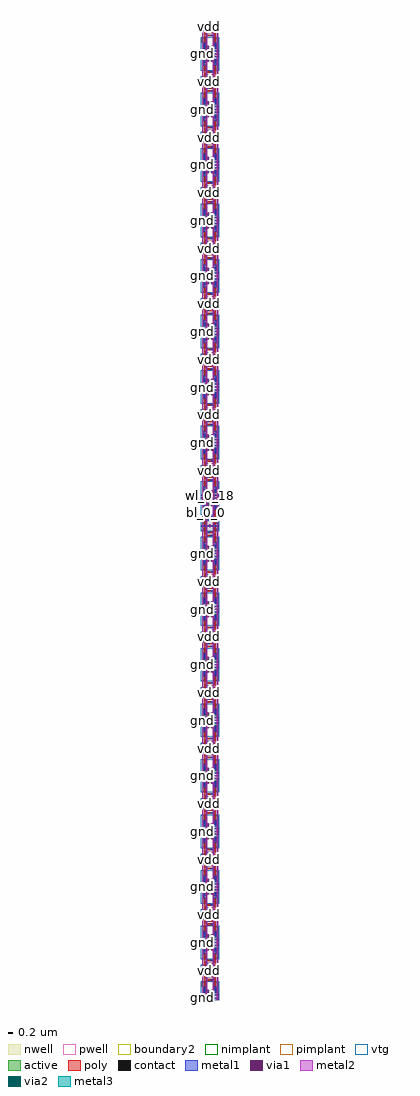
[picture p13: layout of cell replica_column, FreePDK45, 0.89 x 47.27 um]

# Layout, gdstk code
import gdstk
lib = gdstk.Library(unit=1e-6, precision=5e-10)
def R(c, l, rs):  # rectangles x0, y0, x1, y1
    for r in rs: c.add(gdstk.rectangle(r[:2], r[2:], *l))
def A(c, l, x, y, w, h, nx, ny, dx, dy):  # array of equal rectangles
    R(c, l, [(x+i*dx, y+j*dy, x+i*dx+w, y+j*dy+h) for i in range(nx) for j in range(ny)])
active = (1, 0)
pwell = (2, 0)
nwell = (3, 0)
nimplant = (4, 0)
pimplant = (5, 0)
vtg = (6, 0)
poly = (9, 0)
contact = (10, 0)
metal1 = (11, 0)
via1 = (12, 0)
metal2 = (13, 0)
via2 = (14, 0)
metal3 = (15, 0)
boundary2 = (239, 0)

dummy_cell_1rw = lib.new_cell('dummy_cell_1rw')
R(dummy_cell_1rw, active, [(0.3025,-0.045,0.3925,0.045), (0.3025,-0.045,0.3925,0.045), (0.045,0.2275,0.305,0.3625), (0.045,0.2275,0.12,0.3625), (0.045,0.2275,0.12,0.3625), (0.23,0.2275,0.305,0.3625), (0.23,0.2275,0.305,0.3625), (0.4,0.2275,0.66,0.3625), (0.4,0.2275,0.475,0.3625), (0.4,0.2275,0.475,0.3625), (0.585,0.2275,0.66,0.3625), (0.585,0.2275,0.66,0.3625), (0.045,0.2875,0.12,0.3625), (0.23,0.2875,0.305,0.3625), (0.4,0.2875,0.475,0.3625), (0.585,0.2875,0.66,0.3625), (-0.0375,0.5475,0.225,0.7525), (-0.0375,0.5475,0.04,0.7525), (-0.0375,0.5475,0.04,0.7525), (0.15,0.5475,0.225,0.7525), (0.15,0.5475,0.225,0.7525), (0.48,0.5475,0.7425,0.7525), (0.48,0.5475,0.555,0.7525), (0.48,0.5475,0.555,0.7525), (0.665,0.5475,0.7425,0.7525), (0.665,0.5475,0.7425,0.7525), (-0.0375,0.6775,0.0375,0.7525), (0.15,0.6775,0.225,0.7525), (0.48,0.6775,0.555,0.7525), (0.6675,0.6775,0.7425,0.7525), (-0.0375,1.1425,0.225,1.2325), (-0.0375,1.1425,0.04,1.2325), (-0.0375,1.1425,0.04,1.2325), (-0.0375,1.1425,0.04,1.2175), (0.15,1.1425,0.225,1.2175), (0.15,1.1425,0.225,1.2325), (0.15,1.1425,0.225,1.2325), (0.48,1.1425,0.555,1.2175), (0.48,1.1425,0.7425,1.2325), (0.48,1.1425,0.555,1.2325), (0.48,1.1425,0.555,1.2325), (0.665,1.1425,0.7425,1.2325), (0.665,1.1425,0.7425,1.2325), (0.6675,1.1425,0.7425,1.2175), (0.3025,1.3,0.3925,1.39), (0.3025,1.3,0.3925,1.39)])
R(dummy_cell_1rw, pwell, [(-0.0925,-0.1,0.7975,0.8075), (0.2475,-0.1,0.4475,0.1), (0.2475,-0.1,0.4475,0.1), (-0.01,0.1725,0.36,0.4175), (0.345,0.1725,0.715,0.4175), (-0.0925,0.4925,0.28,0.8075), (0.425,0.4925,0.7975,0.8075)])
R(dummy_cell_1rw, nwell, [(-0.0925,1.0875,0.28,1.2875), (-0.0925,1.0875,0.7975,1.445), (0.425,1.0875,0.7975,1.2875), (0.2475,1.245,0.4475,1.445), (0.2475,1.245,0.4475,1.445)])
R(dummy_cell_1rw, nimplant, [(0.045,0.2275,0.305,0.3625), (0.4,0.2275,0.66,0.3625), (-0.035,0.5475,0.225,0.7525), (0.48,0.5475,0.74,0.7525), (0.3025,1.3,0.3925,1.39), (0.3025,1.3,0.3925,1.39)])
R(dummy_cell_1rw, pimplant, [(0.3025,-0.045,0.3925,0.045), (-0.035,1.1425,0.225,1.2325), (0.48,1.1425,0.74,1.2325)])
R(dummy_cell_1rw, vtg, [(-0.09,-0.1,0.795,0.8075), (-0.01,0.1725,0.36,0.4175), (0.345,0.1725,0.715,0.4175), (-0.09,0.4925,0.28,0.8075), (0.425,0.4925,0.795,0.8075), (-0.09,1.0875,0.28,1.2875), (-0.09,1.0875,0.795,1.445), (0.425,1.0875,0.795,1.2875)])
R(dummy_cell_1rw, poly, [(0.07,0.1025,0.635,0.1775), (0.2975,0.1025,0.3725,0.1775), (0.15,0.1725,0.2,0.2275), (0.15,0.1725,0.2,0.4175), (0.505,0.1725,0.555,0.2275), (0.505,0.1725,0.555,0.4175), (0.15,0.3625,0.2,0.4175), (0.505,0.3625,0.555,0.4175), (0.07,0.4925,0.12,0.5475), (0.07,0.4925,0.12,0.8075), (0.585,0.4925,0.635,0.5475), (0.585,0.4925,0.635,0.8075), (0.07,0.7525,0.12,0.8075), (0.585,0.7525,0.635,0.8075), (0.07,0.8075,0.12,1.0875), (0.07,0.8075,0.12,1.0875), (0.585,0.8075,0.635,1.0875), (0.585,0.8075,0.635,1.0875), (0.07,0.8425,0.5025,0.9175), (0.4275,0.8425,0.5025,0.9175), (0.4275,0.8425,0.5025,0.9175), (0.2025,0.9925,0.2775,1.0675), (0.2025,0.9925,0.2775,1.0675), (0.2025,0.9925,0.635,1.0675), (0.07,1.0875,0.12,1.1425), (0.07,1.0875,0.12,1.2875), (0.585,1.0875,0.635,1.1425), (0.585,1.0875,0.635,1.2875), (0.07,1.2325,0.12,1.2875), (0.585,1.2325,0.635,1.2875)])
R(dummy_cell_1rw, contact, [(0.3175,-0.0325,0.3825,0.0325), (0.3175,-0.0325,0.3825,0.0325), (0.3025,0.1075,0.3675,0.1725), (0.05,0.2925,0.115,0.3575), (0.235,0.2925,0.3,0.3575), (0.405,0.2925,0.47,0.3575), (0.59,0.2925,0.655,0.3575), (-0.0325,0.6825,0.0325,0.7475), (0.155,0.6825,0.22,0.7475), (0.485,0.6825,0.55,0.7475), (0.6725,0.6825,0.7375,0.7475), (0.4325,0.8475,0.4975,0.9125), (0.4325,0.8475,0.4975,0.9125), (0.2075,0.9975,0.2725,1.0625), (0.2075,0.9975,0.2725,1.0625), (-0.0325,1.1475,0.0325,1.2125), (0.155,1.1475,0.22,1.2125), (0.485,1.1475,0.55,1.2125), (0.6725,1.1475,0.7375,1.2125), (0.315,1.3125,0.38,1.3775)])
R(dummy_cell_1rw, metal1, [(-0.09,-0.0325,0.795,0.0325), (-0.0675,-0.0325,0.0675,0.0325), (-0.0675,-0.0325,0.0675,0.0325), (0.285,-0.0325,0.42,0.0325), (0.285,-0.0325,0.42,0.0325), (0.6375,-0.0325,0.7725,0.0325), (0.6375,-0.0325,0.7725,0.0325), (0.6375,-0.0325,0.7725,0.0325), (0.6375,-0.0325,0.7725,0.0325), (-0.09,0.1075,0.795,0.1725), (-0.09,0.1075,0.795,0.1725), (-0.09,0.1075,0.795,0.1725), (0.2675,0.1075,0.4025,0.1725), (-0.085,0.11,-0.0325,0.1725), (0.62,0.11,0.6725,0.1725), (0.05,0.2575,0.115,0.3925), (0.05,0.2575,0.12,0.5475), (0.2225,0.2575,0.2875,0.3925), (0.235,0.2575,0.3,0.3925), (0.405,0.2575,0.47,0.3925), (0.4175,0.2575,0.4825,0.3925), (0.59,0.2575,0.655,0.3925), (0.59,0.2575,0.66,0.5475), (0.05,0.4825,0.22,0.5475), (0.155,0.4825,0.22,1.2225), (0.485,0.4825,0.66,0.5475), (0.485,0.4825,0.55,1.1125), (-0.035,0.6475,0.035,0.7825), (-0.035,0.6475,0.035,0.7825), (-0.03,0.6475,0.035,0.7825), (0.155,0.6475,0.22,0.7825), (0.485,0.6475,0.55,0.7825), (0.67,0.6475,0.735,0.7825), (0.67,0.6475,0.74,0.7825), (0.67,0.6475,0.74,0.7825), (0.67,0.6475,0.74,0.7825), (0.67,0.6475,0.74,0.7825), (0.67,0.6475,0.74,0.7825), (0.67,0.6475,0.74,0.7825), (-0.0325,0.75,0.0325,0.885), (-0.0325,0.75,0.0325,0.885), (-0.0325,0.75,0.0325,0.885), (-0.0325,0.75,0.0325,0.885), (-0.0325,0.75,0.0325,0.885), (-0.0325,0.75,0.0325,0.885), (0.6725,0.75,0.7375,0.885), (0.6725,0.75,0.7375,0.885), (0.6725,0.75,0.7375,0.885), (0.6725,0.75,0.7375,0.885), (0.6725,0.75,0.7375,0.885), (0.6725,0.75,0.7375,0.885), (0.6725,0.75,0.7375,0.885), (0.6725,0.75,0.7375,0.885), (0.6725,0.75,0.7375,0.885), (0.6725,0.75,0.7375,0.885), (0.6725,0.75,0.7375,0.885), (0.6725,0.75,0.7375,0.885), (0.6725,0.75,0.7375,0.885), (0.6725,0.75,0.7375,0.885), (0.6725,0.75,0.7375,0.885), (0.6725,0.75,0.7375,0.885), (0.6725,0.75,0.7375,0.885), (0.6725,0.75,0.7375,0.885), (0.6725,0.75,0.7375,0.885), (0.6725,0.75,0.7375,0.885), (0.6725,0.75,0.7375,0.885), (0.6725,0.75,0.7375,0.885), (0.6725,0.75,0.7375,0.885), (0.6725,0.75,0.7375,0.885), (0.3975,0.8475,0.5325,0.9125), (0.3975,0.8475,0.5325,0.9125), (0.1725,0.9975,0.3075,1.0625), (0.1725,0.9975,0.3075,1.0625), (-0.035,1.1125,0.035,1.3125), (-0.03,1.1125,0.035,1.2475), (0.155,1.1125,0.22,1.2475), (0.485,1.1125,0.55,1.2475), (0.67,1.1125,0.735,1.2475), (0.67,1.1125,0.74,1.3125), (0.67,1.1125,0.74,1.3125), (-0.09,1.3125,0.795,1.3775)])
R(dummy_cell_1rw, via1, [(-0.0325,-0.0325,0.0325,0.0325), (-0.0325,-0.0325,0.0325,0.0325), (0.6725,-0.0325,0.7375,0.0325), (0.6725,-0.0325,0.7375,0.0325), (0.6725,-0.0325,0.7375,0.0325), (0.6725,-0.0325,0.7375,0.0325), (-0.0325,0.785,0.0325,0.85), (-0.0325,0.785,0.0325,0.85), (-0.0325,0.785,0.0325,0.85), (-0.0325,0.785,0.0325,0.85), (-0.0325,0.785,0.0325,0.85), (-0.0325,0.785,0.0325,0.85), (0.6725,0.785,0.7375,0.85), (0.6725,0.785,0.7375,0.85), (0.6725,0.785,0.7375,0.85), (0.6725,0.785,0.7375,0.85), (0.6725,0.785,0.7375,0.85), (0.6725,0.785,0.7375,0.85), (0.6725,0.785,0.7375,0.85), (0.6725,0.785,0.7375,0.85), (0.6725,0.785,0.7375,0.85), (0.6725,0.785,0.7375,0.85), (0.6725,0.785,0.7375,0.85), (0.6725,0.785,0.7375,0.85), (0.6725,0.785,0.7375,0.85), (0.6725,0.785,0.7375,0.85), (0.6725,0.785,0.7375,0.85), (0.6725,0.785,0.7375,0.85), (0.6725,0.785,0.7375,0.85), (0.6725,0.785,0.7375,0.85), (0.6725,0.785,0.7375,0.85), (0.6725,0.785,0.7375,0.85), (0.6725,0.785,0.7375,0.85), (0.6725,0.785,0.7375,0.85), (0.6725,0.785,0.7375,0.85), (0.6725,0.785,0.7375,0.85), (0.315,1.3125,0.38,1.3775)])
R(dummy_cell_1rw, metal2, [(-0.035,-0.1,0.035,1.445), (0.15,-0.1,0.22,1.445), (0.15,-0.1,0.22,1.445), (0.15,-0.1,0.22,1.445), (0.485,-0.1,0.555,1.445), (0.485,-0.1,0.555,1.445), (0.485,-0.1,0.555,1.445), (0.67,-0.1,0.74,1.445), (-0.0675,-0.035,0.0675,0.035), (-0.0675,-0.035,0.0675,0.035), (-0.0675,-0.035,0.0675,0.035), (-0.0675,-0.035,0.0675,0.035), (0.6375,-0.035,0.7725,0.035), (0.6375,-0.035,0.7725,0.035), (0.6375,-0.035,0.7725,0.035), (0.6375,-0.035,0.7725,0.035), (0.4925,-0.0325,0.55,0.0275), (0.67,-0.0325,0.74,1.3775), (-0.03,-0.03,0.03,0.0275), (0.1575,-0.025,0.2125,0.0275), (0.675,-0.025,0.735,0.0325), (0.22,0.2575,0.29,0.3925), (0.415,0.2575,0.485,0.3925), (-0.035,0.75,0.035,0.885), (-0.035,0.75,0.035,0.885), (-0.035,0.75,0.035,0.885), (-0.035,0.75,0.035,0.885), (-0.035,0.75,0.035,0.885), (-0.035,0.75,0.035,0.885), (0.67,0.75,0.74,0.885), (0.67,0.75,0.74,0.885), (0.67,0.75,0.74,0.885), (0.67,0.75,0.74,0.885), (0.67,0.75,0.74,0.885), (0.67,0.75,0.74,0.885), (0.67,0.75,0.74,0.885), (0.67,0.75,0.74,0.885), (0.67,0.75,0.74,0.885), (0.67,0.75,0.74,0.885), (0.67,0.75,0.74,0.885), (0.67,0.75,0.74,0.885), (0.67,0.75,0.74,0.885), (0.67,0.75,0.74,0.885), (0.67,0.75,0.74,0.885), (0.67,0.75,0.74,0.885), (0.67,0.75,0.74,0.885), (0.67,0.75,0.74,0.885), (0.67,0.75,0.74,0.885), (0.67,0.75,0.74,0.885), (0.67,0.75,0.74,0.885), (0.67,0.75,0.74,0.885), (0.67,0.75,0.74,0.885), (0.67,0.75,0.74,0.885), (0.3125,1.2775,0.3825,1.4125), (0.3125,1.2775,0.3825,1.4125), (0.3125,1.2775,0.3825,1.4125)])
R(dummy_cell_1rw, boundary2, [(0,0,0.705,1.345)])
dummy_cell_1rw.add(gdstk.Label('vdd', (0.368,1.355), layer=13, texttype=0))
dummy_cell_1rw.add(gdstk.Label('gnd', (-0.0475,0.015), layer=13, texttype=0))
dummy_cell_1rw.add(gdstk.Label('br', (0.52,0.003), layer=13, texttype=0))
dummy_cell_1rw.add(gdstk.Label('bl', (0.19,0.003), layer=13, texttype=0))
dummy_cell_1rw.add(gdstk.Label('bl', (0.185,0.6725), layer=13, texttype=0))
dummy_cell_1rw.add(gdstk.Label('br', (0.52,0.6725), layer=13, texttype=0))
dummy_cell_1rw.add(gdstk.Label('vdd', (0.3475,1.345), layer=13, texttype=0))
dummy_cell_1rw.add(gdstk.Label('gnd', (0,0), layer=13, texttype=0))
dummy_cell_1rw.add(gdstk.Label('wl', (-0.05,0.147), layer=11, texttype=0))
dummy_cell_1rw.add(gdstk.Label('wl', (0.3525,0.14), layer=11, texttype=0))

replica_cell_1rw = lib.new_cell('replica_cell_1rw')
R(replica_cell_1rw, active, [(0.3025,-0.045,0.3925,0.045), (0.3025,-0.045,0.3925,0.045), (0.045,0.2275,0.12,0.3625), (0.045,0.2275,0.12,0.3625), (0.045,0.2275,0.305,0.3625), (0.23,0.2275,0.305,0.3625), (0.23,0.2275,0.305,0.3625), (0.4,0.2275,0.475,0.3625), (0.4,0.2275,0.475,0.3625), (0.4,0.2275,0.66,0.3625), (0.585,0.2275,0.66,0.3625), (0.585,0.2275,0.66,0.3625), (0.045,0.2875,0.12,0.3625), (0.23,0.2875,0.305,0.3625), (0.4,0.2875,0.475,0.3625), (0.585,0.2875,0.66,0.3625), (-0.035,0.5475,0.04,0.7525), (-0.035,0.5475,0.04,0.7525), (-0.035,0.5475,0.225,0.7525), (0.15,0.5475,0.225,0.7525), (0.15,0.5475,0.225,0.7525), (0.48,0.5475,0.555,0.7525), (0.48,0.5475,0.555,0.7525), (0.48,0.5475,0.74,0.7525), (0.665,0.5475,0.74,0.7525), (0.665,0.5475,0.74,0.7525), (-0.035,0.6775,0.04,0.7525), (0.15,0.6775,0.225,0.7525), (0.48,0.6775,0.555,0.7525), (0.665,0.6775,0.74,0.7525), (-0.035,1.1425,0.04,1.2175), (-0.035,1.1425,0.04,1.2325), (-0.035,1.1425,0.04,1.2325), (-0.035,1.1425,0.225,1.2325), (0.15,1.1425,0.225,1.2175), (0.15,1.1425,0.225,1.2325), (0.15,1.1425,0.225,1.2325), (0.48,1.1425,0.555,1.2175), (0.48,1.1425,0.555,1.2325), (0.48,1.1425,0.555,1.2325), (0.48,1.1425,0.74,1.2325), (0.665,1.1425,0.74,1.2175), (0.665,1.1425,0.74,1.2325), (0.665,1.1425,0.74,1.2325), (0.3025,1.3,0.3925,1.39), (0.3025,1.3,0.3925,1.39)])
R(replica_cell_1rw, pwell, [(-0.09,-0.1,0.795,0.8075), (0.2475,-0.1,0.4475,0.1), (0.2475,-0.1,0.4475,0.1), (-0.01,0.1725,0.36,0.4175), (0.345,0.1725,0.715,0.4175), (-0.09,0.4925,0.28,0.8075), (0.425,0.4925,0.795,0.8075)])
R(replica_cell_1rw, nwell, [(-0.09,1.0875,0.795,1.445), (-0.09,1.0875,0.28,1.2875), (0.425,1.0875,0.795,1.2875), (0.2475,1.245,0.4475,1.445), (0.2475,1.245,0.4475,1.445)])
R(replica_cell_1rw, nimplant, [(0.045,0.2275,0.305,0.3625), (0.4,0.2275,0.66,0.3625), (-0.035,0.5475,0.225,0.7525), (0.48,0.5475,0.74,0.7525), (0.3025,1.3,0.3925,1.39), (0.3025,1.3,0.3925,1.39)])
R(replica_cell_1rw, pimplant, [(0.3025,-0.045,0.3925,0.045), (-0.035,1.1425,0.225,1.2325), (0.48,1.1425,0.74,1.2325)])
R(replica_cell_1rw, vtg, [(-0.09,-0.1,0.795,0.8075), (-0.01,0.1725,0.36,0.4175), (0.345,0.1725,0.715,0.4175), (-0.09,0.4925,0.28,0.8075), (0.425,0.4925,0.795,0.8075), (-0.09,1.0875,0.795,1.445), (-0.09,1.0875,0.28,1.2875), (0.425,1.0875,0.795,1.2875)])
R(replica_cell_1rw, poly, [(0.07,0.1025,0.635,0.1775), (0.2975,0.1025,0.3725,0.1775), (0.15,0.1725,0.2,0.4175), (0.15,0.1725,0.2,0.2275), (0.505,0.1725,0.555,0.4175), (0.505,0.1725,0.555,0.2275), (0.15,0.3625,0.2,0.4175), (0.505,0.3625,0.555,0.4175), (0.07,0.4925,0.12,0.5475), (0.07,0.4925,0.12,0.8075), (0.585,0.4925,0.635,0.5475), (0.585,0.4925,0.635,0.8075), (0.07,0.7525,0.12,0.8075), (0.585,0.7525,0.635,0.8075), (0.07,0.8075,0.12,1.0875), (0.07,0.8075,0.12,1.0875), (0.585,0.8075,0.635,1.0875), (0.585,0.8075,0.635,1.0875), (0.07,0.8425,0.5025,0.9175), (0.4275,0.8425,0.5025,0.9175), (0.4275,0.8425,0.5025,0.9175), (0.2025,0.9925,0.635,1.0675), (0.2025,0.9925,0.2775,1.0675), (0.2025,0.9925,0.2775,1.0675), (0.07,1.0875,0.12,1.1425), (0.07,1.0875,0.12,1.2875), (0.585,1.0875,0.635,1.1425), (0.585,1.0875,0.635,1.2875), (0.07,1.2325,0.12,1.2875), (0.585,1.2325,0.635,1.2875)])
R(replica_cell_1rw, contact, [(0.3175,-0.0325,0.3825,0.0325), (0.3175,-0.0325,0.3825,0.0325), (0.3025,0.1075,0.3675,0.1725), (0.05,0.2925,0.115,0.3575), (0.235,0.2925,0.3,0.3575), (0.405,0.2925,0.47,0.3575), (0.59,0.2925,0.655,0.3575), (-0.0325,0.6825,0.0325,0.7475), (0.155,0.6825,0.22,0.7475), (0.485,0.6825,0.55,0.7475), (0.6725,0.6825,0.7375,0.7475), (0.4325,0.8475,0.4975,0.9125), (0.4325,0.8475,0.4975,0.9125), (0.2075,0.9975,0.2725,1.0625), (0.2075,0.9975,0.2725,1.0625), (-0.0325,1.1475,0.0325,1.2125), (0.155,1.1475,0.22,1.2125), (0.485,1.1475,0.55,1.2125), (0.6725,1.1475,0.7375,1.2125), (0.315,1.3125,0.38,1.3775)])
R(replica_cell_1rw, metal1, [(-0.09,-0.0325,0.795,0.0325), (-0.0675,-0.0325,0.0675,0.0325), (-0.0675,-0.0325,0.0675,0.0325), (0.285,-0.0325,0.42,0.0325), (0.285,-0.0325,0.42,0.0325), (0.6375,-0.0325,0.7725,0.0325), (0.6375,-0.0325,0.7725,0.0325), (0.6375,-0.0325,0.7725,0.0325), (0.6375,-0.0325,0.7725,0.0325), (-0.09,0.1075,0.795,0.1725), (-0.09,0.1075,0.795,0.1725), (-0.09,0.1075,0.795,0.1725), (0.2675,0.1075,0.4025,0.1725), (-0.085,0.11,-0.0325,0.1725), (0.62,0.11,0.6725,0.1725), (0.05,0.2575,0.12,0.5475), (0.05,0.2575,0.115,0.3925), (0.2225,0.2575,0.2875,0.3925), (0.235,0.2575,0.3,0.3925), (0.405,0.2575,0.47,0.3925), (0.4175,0.2575,0.4825,0.3925), (0.59,0.2575,0.66,0.5475), (0.59,0.2575,0.655,0.3925), (0.05,0.4825,0.22,0.5475), (0.155,0.4825,0.22,1.2225), (0.485,0.4825,0.55,1.1125), (0.485,0.4825,0.66,0.5475), (-0.035,0.6475,0.035,0.7825), (-0.035,0.6475,0.035,0.7825), (-0.03,0.6475,0.035,0.7825), (0.155,0.6475,0.22,0.7825), (0.485,0.6475,0.55,0.7825), (0.67,0.6475,0.74,0.7825), (0.67,0.6475,0.74,0.7825), (0.67,0.6475,0.74,0.7825), (0.67,0.6475,0.74,0.7825), (0.67,0.6475,0.74,0.7825), (0.67,0.6475,0.74,0.7825), (0.67,0.6475,0.735,0.7825), (-0.0325,0.75,0.0325,0.885), (-0.0325,0.75,0.0325,0.885), (-0.0325,0.75,0.0325,0.885), (-0.0325,0.75,0.0325,0.885), (-0.0325,0.75,0.0325,0.885), (-0.0325,0.75,0.0325,0.885), (0.6725,0.75,0.7375,0.885), (0.6725,0.75,0.7375,0.885), (0.6725,0.75,0.7375,0.885), (0.6725,0.75,0.7375,0.885), (0.6725,0.75,0.7375,0.885), (0.6725,0.75,0.7375,0.885), (0.6725,0.75,0.7375,0.885), (0.6725,0.75,0.7375,0.885), (0.6725,0.75,0.7375,0.885), (0.6725,0.75,0.7375,0.885), (0.6725,0.75,0.7375,0.885), (0.6725,0.75,0.7375,0.885), (0.6725,0.75,0.7375,0.885), (0.6725,0.75,0.7375,0.885), (0.6725,0.75,0.7375,0.885), (0.6725,0.75,0.7375,0.885), (0.6725,0.75,0.7375,0.885), (0.6725,0.75,0.7375,0.885), (0.6725,0.75,0.7375,0.885), (0.6725,0.75,0.7375,0.885), (0.6725,0.75,0.7375,0.885), (0.6725,0.75,0.7375,0.885), (0.6725,0.75,0.7375,0.885), (0.6725,0.75,0.7375,0.885), (0.3975,0.8475,0.5325,0.9125), (0.3975,0.8475,0.5325,0.9125), (0.1725,0.9975,0.3075,1.0625), (0.1725,0.9975,0.3075,1.0625), (-0.035,1.1125,0.035,1.3125), (-0.03,1.1125,0.035,1.2475), (0.155,1.1125,0.22,1.2475), (0.485,1.1125,0.55,1.325), (0.67,1.1125,0.74,1.3125), (0.67,1.1125,0.74,1.3125), (0.67,1.1125,0.735,1.2475), (-0.09,1.3125,0.795,1.3775)])
R(replica_cell_1rw, via1, [(-0.0325,-0.0325,0.0325,0.0325), (-0.0325,-0.0325,0.0325,0.0325), (0.6725,-0.0325,0.7375,0.0325), (0.6725,-0.0325,0.7375,0.0325), (0.6725,-0.0325,0.7375,0.0325), (0.6725,-0.0325,0.7375,0.0325), (0.2225,0.2925,0.2875,0.3575), (0.4175,0.2925,0.4825,0.3575), (-0.0325,0.785,0.0325,0.85), (-0.0325,0.785,0.0325,0.85), (-0.0325,0.785,0.0325,0.85), (-0.0325,0.785,0.0325,0.85), (-0.0325,0.785,0.0325,0.85), (-0.0325,0.785,0.0325,0.85), (0.6725,0.785,0.7375,0.85), (0.6725,0.785,0.7375,0.85), (0.6725,0.785,0.7375,0.85), (0.6725,0.785,0.7375,0.85), (0.6725,0.785,0.7375,0.85), (0.6725,0.785,0.7375,0.85), (0.6725,0.785,0.7375,0.85), (0.6725,0.785,0.7375,0.85), (0.6725,0.785,0.7375,0.85), (0.6725,0.785,0.7375,0.85), (0.6725,0.785,0.7375,0.85), (0.6725,0.785,0.7375,0.85), (0.6725,0.785,0.7375,0.85), (0.6725,0.785,0.7375,0.85), (0.6725,0.785,0.7375,0.85), (0.6725,0.785,0.7375,0.85), (0.6725,0.785,0.7375,0.85), (0.6725,0.785,0.7375,0.85), (0.6725,0.785,0.7375,0.85), (0.6725,0.785,0.7375,0.85), (0.6725,0.785,0.7375,0.85), (0.6725,0.785,0.7375,0.85), (0.6725,0.785,0.7375,0.85), (0.6725,0.785,0.7375,0.85), (0.315,1.3125,0.38,1.3775)])
R(replica_cell_1rw, metal2, [(-0.035,-0.1,0.035,1.445), (0.15,-0.1,0.22,1.445), (0.15,-0.1,0.22,1.445), (0.15,-0.1,0.22,1.445), (0.485,-0.1,0.555,1.445), (0.485,-0.1,0.555,1.445), (0.485,-0.1,0.555,1.445), (0.67,-0.1,0.74,1.445), (-0.0675,-0.035,0.0675,0.035), (-0.0675,-0.035,0.0675,0.035), (-0.0675,-0.035,0.0675,0.035), (-0.0675,-0.035,0.0675,0.035), (0.6375,-0.035,0.7725,0.035), (0.6375,-0.035,0.7725,0.035), (0.6375,-0.035,0.7725,0.035), (0.6375,-0.035,0.7725,0.035), (0.4925,-0.0325,0.55,0.0275), (0.67,-0.0325,0.74,1.3775), (-0.03,-0.03,0.03,0.0275), (0.1575,-0.025,0.2125,0.0275), (0.675,-0.025,0.735,0.0325), (0.22,0.2575,0.29,0.3925), (0.415,0.2575,0.485,0.3925), (-0.035,0.75,0.035,0.885), (-0.035,0.75,0.035,0.885), (-0.035,0.75,0.035,0.885), (-0.035,0.75,0.035,0.885), (-0.035,0.75,0.035,0.885), (-0.035,0.75,0.035,0.885), (0.67,0.75,0.74,0.885), (0.67,0.75,0.74,0.885), (0.67,0.75,0.74,0.885), (0.67,0.75,0.74,0.885), (0.67,0.75,0.74,0.885), (0.67,0.75,0.74,0.885), (0.67,0.75,0.74,0.885), (0.67,0.75,0.74,0.885), (0.67,0.75,0.74,0.885), (0.67,0.75,0.74,0.885), (0.67,0.75,0.74,0.885), (0.67,0.75,0.74,0.885), (0.67,0.75,0.74,0.885), (0.67,0.75,0.74,0.885), (0.67,0.75,0.74,0.885), (0.67,0.75,0.74,0.885), (0.67,0.75,0.74,0.885), (0.67,0.75,0.74,0.885), (0.67,0.75,0.74,0.885), (0.67,0.75,0.74,0.885), (0.67,0.75,0.74,0.885), (0.67,0.75,0.74,0.885), (0.67,0.75,0.74,0.885), (0.67,0.75,0.74,0.885), (0.3125,1.2775,0.3825,1.4125), (0.3125,1.2775,0.3825,1.4125), (0.3125,1.2775,0.3825,1.4125)])
R(replica_cell_1rw, boundary2, [(0,0,0.705,1.345)])
replica_cell_1rw.add(gdstk.Label('bl', (0.19,0.003), layer=13, texttype=0))
replica_cell_1rw.add(gdstk.Label('br', (0.52,0.003), layer=13, texttype=0))
replica_cell_1rw.add(gdstk.Label('gnd', (-0.0475,0.015), layer=13, texttype=0))
replica_cell_1rw.add(gdstk.Label('vdd', (0.368,1.355), layer=13, texttype=0))
replica_cell_1rw.add(gdstk.Label('bl', (0.185,0.6725), layer=13, texttype=0))
replica_cell_1rw.add(gdstk.Label('br', (0.52,0.6725), layer=13, texttype=0))
replica_cell_1rw.add(gdstk.Label('vdd', (0.3475,1.345), layer=13, texttype=0))
replica_cell_1rw.add(gdstk.Label('gnd', (0,0), layer=13, texttype=0))
replica_cell_1rw.add(gdstk.Label('wl', (-0.05,0.147), layer=11, texttype=0))
replica_cell_1rw.add(gdstk.Label('wl', (0.3525,0.14), layer=11, texttype=0))

contact_7 = lib.new_cell('contact_7')
R(contact_7, metal2, [(0.035,0,0.105,0.14)])
R(contact_7, via2, [(0.035,0.035,0.105,0.105)])
R(contact_7, metal3, [(0,0.035,0.14,0.105)])
R(contact_7, boundary2, [(0,0,0.14,0.14)])

replica_column = lib.new_cell('replica_column')
R(replica_column, metal1, [(0,0.1075,0.705,0.1725), (0,2.5175,0.705,2.5825), (0,2.7975,0.705,2.8625), (0,5.2075,0.705,5.2725), (0,5.4875,0.705,5.5525), (0,7.8975,0.705,7.9625), (0,8.1775,0.705,8.2425), (0,10.5875,0.705,10.6525), (0,10.8675,0.705,10.9325), (0,13.2775,0.705,13.3425), (0,13.5575,0.705,13.6225), (0,15.9675,0.705,16.0325), (0,16.2475,0.705,16.3125), (0,18.6575,0.705,18.7225), (0,18.9375,0.705,19.0025), (0,21.3475,0.705,21.4125), (0,21.6275,0.705,21.6925), (0,24.0375,0.705,24.1025), (0,24.3175,0.705,24.3825), (0,26.7275,0.705,26.7925), (0,27.0075,0.705,27.0725), (0,29.4175,0.705,29.4825), (0,29.6975,0.705,29.7625), (0,32.1075,0.705,32.1725), (0,32.3875,0.705,32.4525), (0,34.7975,0.705,34.8625), (0,35.0775,0.705,35.1425), (0,37.4875,0.705,37.5525), (0,37.7675,0.705,37.8325), (0,40.1775,0.705,40.2425), (0,40.4575,0.705,40.5225), (0,42.8675,0.705,42.9325), (0,43.1475,0.705,43.2125), (0,45.5575,0.705,45.6225), (0,45.8375,0.705,45.9025)])
A(replica_column, metal2, -0.0675, 2.655, 0.135, 0.07, 1, 17, 0, 2.69)
A(replica_column, metal2, 0.3125, 6.6575, 0.07, 0.135, 1, 3, 0, 2.69)
A(replica_column, metal2, 0.3125, 12.0375, 0.07, 0.135, 1, 4, 0, 2.69)
A(replica_column, metal2, 0.3125, 20.1075, 0.07, 0.135, 1, 4, 0, 2.69)
A(replica_column, metal2, 0.3125, 28.1775, 0.07, 0.135, 1, 3, 0, 2.69)
A(replica_column, metal2, 0.3125, 33.5575, 0.07, 0.135, 1, 3, 0, 2.69)
R(replica_column, metal2, [(0.15,0,0.22,47.075), (0.485,0,0.555,47.075), (0.3125,1.2775,0.3825,1.4125), (0.3125,3.9675,0.3825,4.1025), (0.3125,3.9675,0.3825,4.1025), (0.3125,6.6575,0.3825,6.7925), (0.3125,38.9375,0.3825,39.0725), (0.3125,41.6275,0.3825,41.7625), (0.3125,41.6275,0.3825,41.7625), (0.3125,44.3175,0.3825,44.4525)])
R(replica_column, metal3, [(-0.07,-0.07,0.07,0.07), (0.2775,1.275,0.4175,1.415), (-0.07,45.66,0.07,45.8), (0.2775,47.005,0.4175,47.145)])
R(replica_column, boundary2, [(0,0,0.705,47.075)])
replica_column.add(gdstk.Reference(dummy_cell_1rw, (0,0)))
replica_column.add(gdstk.Reference(replica_cell_1rw, (0,2.69), x_reflection=True))
replica_column.add(gdstk.Reference(replica_cell_1rw, (0,2.69)))
replica_column.add(gdstk.Reference(replica_cell_1rw, (0,5.38), x_reflection=True))
replica_column.add(gdstk.Reference(replica_cell_1rw, (0,5.38)))
replica_column.add(gdstk.Reference(replica_cell_1rw, (0,8.07), x_reflection=True))
replica_column.add(gdstk.Reference(replica_cell_1rw, (0,8.07)))
replica_column.add(gdstk.Reference(replica_cell_1rw, (0,10.76), x_reflection=True))
replica_column.add(gdstk.Reference(replica_cell_1rw, (0,10.76)))
replica_column.add(gdstk.Reference(replica_cell_1rw, (0,13.45), x_reflection=True))
replica_column.add(gdstk.Reference(replica_cell_1rw, (0,13.45)))
replica_column.add(gdstk.Reference(replica_cell_1rw, (0,16.14), x_reflection=True))
replica_column.add(gdstk.Reference(replica_cell_1rw, (0,16.14)))
replica_column.add(gdstk.Reference(replica_cell_1rw, (0,18.83), x_reflection=True))
replica_column.add(gdstk.Reference(replica_cell_1rw, (0,18.83)))
replica_column.add(gdstk.Reference(replica_cell_1rw, (0,21.52), x_reflection=True))
replica_column.add(gdstk.Reference(replica_cell_1rw, (0,21.52)))
replica_column.add(gdstk.Reference(replica_cell_1rw, (0,24.21), x_reflection=True))
replica_column.add(gdstk.Reference(replica_cell_1rw, (0,24.21)))
replica_column.add(gdstk.Reference(replica_cell_1rw, (0,26.9), x_reflection=True))
replica_column.add(gdstk.Reference(replica_cell_1rw, (0,26.9)))
replica_column.add(gdstk.Reference(replica_cell_1rw, (0,29.59), x_reflection=True))
replica_column.add(gdstk.Reference(replica_cell_1rw, (0,29.59)))
replica_column.add(gdstk.Reference(replica_cell_1rw, (0,32.28), x_reflection=True))
replica_column.add(gdstk.Reference(replica_cell_1rw, (0,32.28)))
replica_column.add(gdstk.Reference(replica_cell_1rw, (0,34.97), x_reflection=True))
replica_column.add(gdstk.Reference(replica_cell_1rw, (0,34.97)))
replica_column.add(gdstk.Reference(replica_cell_1rw, (0,37.66), x_reflection=True))
replica_column.add(gdstk.Reference(replica_cell_1rw, (0,37.66)))
replica_column.add(gdstk.Reference(replica_cell_1rw, (0,40.35), x_reflection=True))
replica_column.add(gdstk.Reference(replica_cell_1rw, (0,40.35)))
replica_column.add(gdstk.Reference(replica_cell_1rw, (0,43.04), x_reflection=True))
replica_column.add(gdstk.Reference(replica_cell_1rw, (0,43.04)))
replica_column.add(gdstk.Reference(replica_cell_1rw, (0,45.73), x_reflection=True))
replica_column.add(gdstk.Reference(dummy_cell_1rw, (0,45.73)))
replica_column.add(gdstk.Reference(contact_7, (0.2775,1.275)))
replica_column.add(gdstk.Reference(contact_7, (-0.07,-0.07)))
replica_column.add(gdstk.Reference(contact_7, (0.2775,47.005)))
replica_column.add(gdstk.Reference(contact_7, (-0.07,45.66)))
replica_column.add(gdstk.Label('bl_0_0', (0.185,23.5375), layer=13, texttype=0))
replica_column.add(gdstk.Label('br_0_0', (0.52,23.5375), layer=13, texttype=0))
replica_column.add(gdstk.Label('vdd', (0.3475,4.035), layer=13, texttype=0))
replica_column.add(gdstk.Label('vdd', (0.3475,4.035), layer=13, texttype=0))
replica_column.add(gdstk.Label('vdd', (0.3475,33.625), layer=13, texttype=0))
replica_column.add(gdstk.Label('vdd', (0.3475,33.625), layer=13, texttype=0))
replica_column.add(gdstk.Label('vdd', (0.3475,1.345), layer=13, texttype=0))
replica_column.add(gdstk.Label('vdd', (0.3475,28.245), layer=13, texttype=0))
replica_column.add(gdstk.Label('vdd', (0.3475,28.245), layer=13, texttype=0))
replica_column.add(gdstk.Label('vdd', (0.3475,39.005), layer=13, texttype=0))
replica_column.add(gdstk.Label('vdd', (0.3475,39.005), layer=13, texttype=0))
replica_column.add(gdstk.Label('vdd', (0.3475,20.175), layer=13, texttype=0))
replica_column.add(gdstk.Label('vdd', (0.3475,20.175), layer=13, texttype=0))
replica_column.add(gdstk.Label('vdd', (0.3475,44.385), layer=13, texttype=0))
replica_column.add(gdstk.Label('vdd', (0.3475,14.795), layer=13, texttype=0))
replica_column.add(gdstk.Label('vdd', (0.3475,17.485), layer=13, texttype=0))
replica_column.add(gdstk.Label('vdd', (0.3475,25.555), layer=13, texttype=0))
replica_column.add(gdstk.Label('vdd', (0.3475,12.105), layer=13, texttype=0))
replica_column.add(gdstk.Label('vdd', (0.3475,12.105), layer=13, texttype=0))
replica_column.add(gdstk.Label('vdd', (0.3475,6.725), layer=13, texttype=0))
replica_column.add(gdstk.Label('vdd', (0.3475,6.725), layer=13, texttype=0))
replica_column.add(gdstk.Label('vdd', (0.3475,41.695), layer=13, texttype=0))
replica_column.add(gdstk.Label('vdd', (0.3475,41.695), layer=13, texttype=0))
replica_column.add(gdstk.Label('vdd', (0.3475,9.415), layer=13, texttype=0))
replica_column.add(gdstk.Label('vdd', (0.3475,30.935), layer=13, texttype=0))
replica_column.add(gdstk.Label('vdd', (0.3475,22.865), layer=13, texttype=0))
replica_column.add(gdstk.Label('vdd', (0.3475,36.315), layer=13, texttype=0))
replica_column.add(gdstk.Label('gnd', (0,18.83), layer=13, texttype=0))
replica_column.add(gdstk.Label('gnd', (0,32.28), layer=13, texttype=0))
replica_column.add(gdstk.Label('gnd', (0,34.97), layer=13, texttype=0))
replica_column.add(gdstk.Label('gnd', (0,37.66), layer=13, texttype=0))
replica_column.add(gdstk.Label('gnd', (0,43.04), layer=13, texttype=0))
replica_column.add(gdstk.Label('gnd', (0,21.52), layer=13, texttype=0))
replica_column.add(gdstk.Label('gnd', (0,24.21), layer=13, texttype=0))
replica_column.add(gdstk.Label('gnd', (0,26.9), layer=13, texttype=0))
replica_column.add(gdstk.Label('gnd', (0,2.69), layer=13, texttype=0))
replica_column.add(gdstk.Label('gnd', (0,45.73), layer=13, texttype=0))
replica_column.add(gdstk.Label('gnd', (0,8.07), layer=13, texttype=0))
replica_column.add(gdstk.Label('gnd', (0,5.38), layer=13, texttype=0))
replica_column.add(gdstk.Label('gnd', (0,29.59), layer=13, texttype=0))
replica_column.add(gdstk.Label('gnd', (0,16.14), layer=13, texttype=0))
replica_column.add(gdstk.Label('gnd', (0,10.76), layer=13, texttype=0))
replica_column.add(gdstk.Label('gnd', (0,13.45), layer=13, texttype=0))
replica_column.add(gdstk.Label('gnd', (0,40.35), layer=13, texttype=0))
replica_column.add(gdstk.Label('vdd', (0.3475,1.345), layer=15, texttype=0))
replica_column.add(gdstk.Label('vdd', (0.3475,47.075), layer=15, texttype=0))
replica_column.add(gdstk.Label('gnd', (0,0), layer=15, texttype=0))
replica_column.add(gdstk.Label('gnd', (0,45.73), layer=15, texttype=0))
replica_column.add(gdstk.Label('wl_0_0', (0.3525,0.14), layer=11, texttype=0))
replica_column.add(gdstk.Label('wl_0_1', (0.3525,2.55), layer=11, texttype=0))
replica_column.add(gdstk.Label('wl_0_2', (0.3525,2.83), layer=11, texttype=0))
replica_column.add(gdstk.Label('wl_0_3', (0.3525,5.24), layer=11, texttype=0))
replica_column.add(gdstk.Label('wl_0_4', (0.3525,5.52), layer=11, texttype=0))
replica_column.add(gdstk.Label('wl_0_5', (0.3525,7.93), layer=11, texttype=0))
replica_column.add(gdstk.Label('wl_0_6', (0.3525,8.21), layer=11, texttype=0))
replica_column.add(gdstk.Label('wl_0_7', (0.3525,10.62), layer=11, texttype=0))
replica_column.add(gdstk.Label('wl_0_8', (0.3525,10.9), layer=11, texttype=0))
replica_column.add(gdstk.Label('wl_0_9', (0.3525,13.31), layer=11, texttype=0))
replica_column.add(gdstk.Label('wl_0_10', (0.3525,13.59), layer=11, texttype=0))
replica_column.add(gdstk.Label('wl_0_11', (0.3525,16), layer=11, texttype=0))
replica_column.add(gdstk.Label('wl_0_12', (0.3525,16.28), layer=11, texttype=0))
replica_column.add(gdstk.Label('wl_0_13', (0.3525,18.69), layer=11, texttype=0))
replica_column.add(gdstk.Label('wl_0_14', (0.3525,18.97), layer=11, texttype=0))
replica_column.add(gdstk.Label('wl_0_15', (0.3525,21.38), layer=11, texttype=0))
replica_column.add(gdstk.Label('wl_0_16', (0.3525,21.66), layer=11, texttype=0))
replica_column.add(gdstk.Label('wl_0_17', (0.3525,24.07), layer=11, texttype=0))
replica_column.add(gdstk.Label('wl_0_18', (0.3525,24.35), layer=11, texttype=0))
replica_column.add(gdstk.Label('wl_0_19', (0.3525,26.76), layer=11, texttype=0))
replica_column.add(gdstk.Label('wl_0_20', (0.3525,27.04), layer=11, texttype=0))
replica_column.add(gdstk.Label('wl_0_21', (0.3525,29.45), layer=11, texttype=0))
replica_column.add(gdstk.Label('wl_0_22', (0.3525,29.73), layer=11, texttype=0))
replica_column.add(gdstk.Label('wl_0_23', (0.3525,32.14), layer=11, texttype=0))
replica_column.add(gdstk.Label('wl_0_24', (0.3525,32.42), layer=11, texttype=0))
replica_column.add(gdstk.Label('wl_0_25', (0.3525,34.83), layer=11, texttype=0))
replica_column.add(gdstk.Label('wl_0_26', (0.3525,35.11), layer=11, texttype=0))
replica_column.add(gdstk.Label('wl_0_27', (0.3525,37.52), layer=11, texttype=0))
replica_column.add(gdstk.Label('wl_0_28', (0.3525,37.8), layer=11, texttype=0))
replica_column.add(gdstk.Label('wl_0_29', (0.3525,40.21), layer=11, texttype=0))
replica_column.add(gdstk.Label('wl_0_30', (0.3525,40.49), layer=11, texttype=0))
replica_column.add(gdstk.Label('wl_0_31', (0.3525,42.9), layer=11, texttype=0))
replica_column.add(gdstk.Label('wl_0_32', (0.3525,43.18), layer=11, texttype=0))
replica_column.add(gdstk.Label('wl_0_33', (0.3525,45.59), layer=11, texttype=0))
replica_column.add(gdstk.Label('wl_0_34', (0.3525,45.87), layer=11, texttype=0))

lib.write_gds('replica_column.gds')
